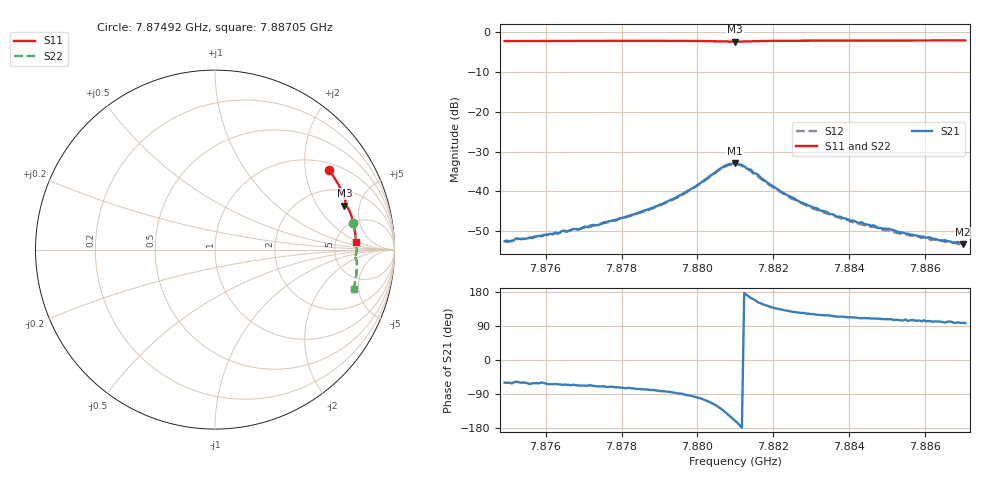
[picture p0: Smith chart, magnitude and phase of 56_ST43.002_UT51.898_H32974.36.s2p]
#  HZ  S  DB  R  50.00
! Rohde & Schwarz Vector Network Analyzer
! Rohde-Schwarz,ZNB20-2Port,1311601062101988,3.16
! Created: UTC 1/12/2023, 6:33:18 PM
! freq[Hz]  db:S11  ang:S11  db:S21  ang:S21  db:S12  ang:S12  db:S22  ang:S22
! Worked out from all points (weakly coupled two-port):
!   201 points, 7.87492 GHz to 7.88705 GHz, reference 50 ohm
!   highest |S21| = -32.94 dB at 7.88099 GHz (marker M1); lowest = -53.3 dB at 7.88699 GHz (marker M2)
!   lowest |S11| = -2.4 dB at 7.88099 GHz (marker M3), VSWR 7.39, Z = 152 + j178 ohm
!   |S11| at or under -10 dB: nowhere
!   |S22| runs from -2.2 to -1.9 dB; largest |S21 - S12| = 0.0018
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7.874922e9  -2.23 34.8  -52.55 -59.7  -52.48 -61.0  -2.13 10.8
7.876318e9  -2.20 30.9  -50.68 -64.1  -50.53 -67.5  -2.10 7.4
7.876439e9  -2.20 30.6  -49.94 -65.4  -50.35 -67.6  -2.10 7.2
7.876985e9  -2.19 29.2  -49.08 -67.5  -49.23 -69.1  -2.08 5.9
7.878076e9  -2.18 26.1  -46.50 -74.3  -46.79 -76.9  -2.06 3.3
7.878986e9  -2.18 23.6  -43.48 -81.5  -43.56 -85.1  -2.05 1.2
7.879471e9  -2.18 22.2  -41.32 -88.0  -41.58 -91.3  -2.05 -0.0
7.879957e9  -2.20 20.7  -38.73 -98.0  -38.80 -101.4  -2.07 -1.3
7.880685e9  -2.32 18.9  -33.79 -133.5  -34.00 -137.1  -2.20 -2.9
7.880988e9  -2.37 18.8  -32.94 -160.1  -33.18 -164.4  -2.24 -2.9
7.881412e9  -2.28 18.4  -34.59 163.1  -34.97 159.8  -2.15 -3.0
7.881473e9  -2.26 18.3  -35.39 160.5  -35.47 156.0  -2.14 -3.1
7.882201e9  -2.16 16.2  -40.11 133.3  -40.24 129.9  -2.02 -4.8
7.88305e9  -2.13 13.8  -44.07 121.2  -44.34 117.1  -1.98 -6.9
7.884202e9  -2.11 10.7  -47.85 111.6  -48.00 107.9  -1.95 -9.5
7.885052e9  -2.09 8.4  -49.45 107.5  -49.99 104.5  -1.93 -11.4
7.885961e9  -2.08 6.0  -51.43 104.8  -51.54 100.1  -1.92 -13.4
7.886143e9  -2.08 5.6  -51.69 102.2  -52.29 98.0  -1.92 -13.8
7.886811e9  -2.08 3.8  -52.82 98.4  -53.04 95.2  -1.92 -15.2
7.886932e9  -2.08 3.5  -53.05 97.5  -53.80 96.3  -1.92 -15.4
7.886993e9  -2.07 3.4  -53.33 98.4  -53.53 98.8  -1.91 -15.6
7.887053e9  -2.07 3.2  -52.86 97.3  -53.28 95.7  -1.92 -15.7
